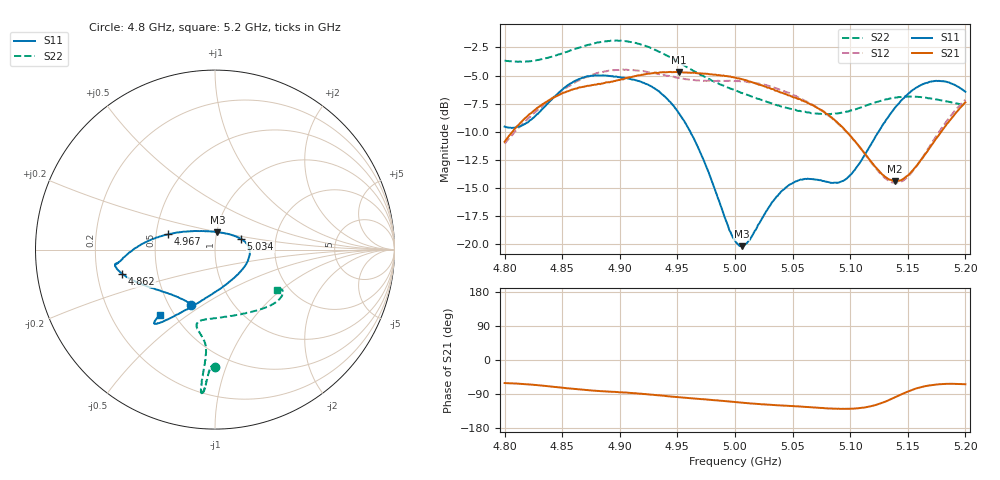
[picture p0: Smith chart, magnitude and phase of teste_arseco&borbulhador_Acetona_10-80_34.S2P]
! Network Analyzer HP8722D
! Hewlett-Packard
! Data name: Linha & Wilkinson
! Saver's name: Rodrigo Anjos
! Comments: Teste da utilização de aquisição
! continua pelo VNA HP8722D
! Time and date: 17/4/2025 14:38
!  Frequency  S11  S21  S12  S22
# HZ  S  MA R 50
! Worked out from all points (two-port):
!   401 points, 4.8 GHz to 5.2 GHz, reference 50 ohm
!   highest |S21| = -4.67 dB at 4.951 GHz (marker M1); lowest = -14.4 dB at 5.139 GHz (marker M2)
!   |S21| within 3 dB of the highest: 4.831 GHz to 5.068 GHz (236.8 MHz wide, 4.78 % of centre); 5.197329 GHz to end of sweep
!   lowest |S11| = -20.2 dB at 5.006 GHz (marker M3), VSWR 1.22, Z = 50.4 + j9.88 ohm
!   |S11| at or under -10 dB: 4.961 GHz to 5.125 GHz (163.4 MHz wide, 3.24 % of centre)
!   |S22| runs from -8.4 to -1.9 dB; largest |S21 - S12| = 0.87
!   S11 on the Smith chart (normalised r, x): 4.8 GHz: 0.65, -0.45; 4.862 GHz: 0.31, -0.12; 4.967 GHz: 0.58, +0.11; 5.034 GHz: 1.33, +0.16; 5.2 GHz: 0.42, -0.39
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4.8e9  0.3335 -113.2  0.2856 -60.8  0.2801 -175.0  0.6557 -89.9
4.819e9  0.3462 -133.0  0.3677 -63.9  0.3561 -173.4  0.6501 -91.6
4.862e9  0.5351 -165.4  0.4925 -76.9  0.5276 -176.6  0.7415 -93.8
4.867e9  0.5487 -167.5  0.4998 -78.3  0.5427 -177.5  0.7552 -93.9
4.9e9  0.5534 -172.0  0.5373 -85.2  0.5968 175.9  0.8034 -95.3
4.934e9  0.4788 -178.1  0.5794 -93.4  0.5707 171.9  0.7174 -95.6
4.951e9  0.3846 173.6  0.5838 -98.1  0.5481 172.4  0.6446 -95.2
4.967e9  0.2761 162.1  0.5763 -102.2  0.5348 174.1  0.5776 -95.0
5e9  0.1036 102.9  0.5508 -111.0  0.5325 176.2  0.4826 -99.1
5.006e9  0.09806 82.2  0.5412 -112.5  0.531 176.2  0.471 -100.6
5.013e9  0.1048 59.8  0.529 -114.6  0.5247 176.0  0.457 -102.0
5.034e9  0.1574 22.0  0.4857 -119.1  0.4974 175.0  0.4196 -103.4
5.05e9  0.187 5.5  0.4525 -121.7  0.4615 174.3  0.3978 -99.8
5.067e9  0.1948 -12.7  0.4169 -124.9  0.4175 173.6  0.3826 -90.9
5.085e9  0.1873 -40.7  0.3615 -128.3  0.36 173.7  0.3804 -77.4
5.097e9  0.1959 -65.3  0.3158 -129.0  0.3159 174.4  0.3889 -67.6
5.134e9  0.3742 -116.0  0.1939 -105.3  0.1907 -158.2  0.4441 -43.0
5.139e9  0.4051 -119.0  0.1907 -98.4  0.1876 -150.3  0.4486 -40.8
5.151e9  0.4698 -124.1  0.2045 -82.2  0.2022 -131.6  0.4537 -36.2
5.17e9  0.5287 -128.5  0.2725 -66.6  0.278 -112.6  0.4449 -31.9
5.184e9  0.5267 -129.9  0.3432 -63.0  0.3548 -107.2  0.4317 -30.9
5.2e9  0.4762 -130.3  0.4273 -64.1  0.4393 -106.3  0.4148 -33.2
